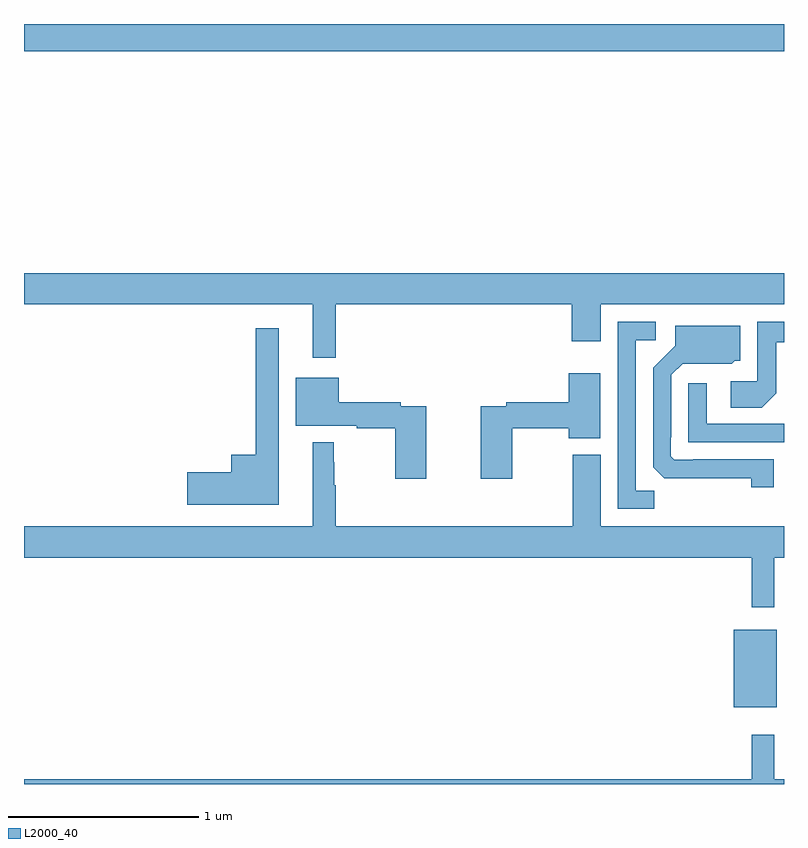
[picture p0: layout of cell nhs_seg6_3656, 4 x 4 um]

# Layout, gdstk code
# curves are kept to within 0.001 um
import gdstk
lib = gdstk.Library(unit=1e-6, precision=1e-09)
def R(c, l, rs):  # rectangles x0, y0, x1, y1
    for r in rs: c.add(gdstk.rectangle(r[:2], r[2:], *l))
def P(c, l, *ps):  # polygons
    for p in ps: c.add(gdstk.Polygon(p, *l))
L2000_40 = (2000, 40)

nhs_seg6_3656 = lib.new_cell('nhs_seg6_3656')
R(nhs_seg6_3656, L2000_40, [(328.736,923.903,328.963,924.313), (325,927.356,329,927.5)])
P(nhs_seg6_3656, L2000_40, [(326.641,926.024),(327.884,926.024),(327.884,925.83),(328.036,925.83),(328.036,926.024),(329,926.024),(329,926.188),(325,926.188),(325,926.024),(326.519,926.024),(326.519,925.743),(326.641,925.743)],
  [(328.959,925.556),(328.959,925.824),(329,925.824),(329,925.932),(328.86,925.932),(328.86,925.62),(328.719,925.62),(328.719,925.48),(328.883,925.48)],
  [(328.317,925.043),(328.221,925.043),(328.221,925.836),(328.324,925.836),(328.324,925.932),(328.125,925.932),(328.125,924.948),(328.317,924.948)],
  [(328.946,925.209),(328.522,925.209),(328.522,925.206),(328.422,925.206),(328.404,925.224),(328.404,925.324),(328.407,925.324),(328.407,925.653),(328.467,925.713),(328.724,925.712),(328.74,925.728),(328.771,925.728),(328.771,925.912),(328.427,925.912),(328.427,925.806),(328.311,925.69),(328.311,925.168),(328.37,925.109),(328.828,925.108),(328.828,925.062),(328.946,925.062)],
  [(326.341,925.9),(326.22,925.9),(326.22,925.234),(326.09,925.234),(326.09,925.142),(325.86,925.142),(325.86,924.971),(326.341,924.971)],
  [(327.57,925.372),(327.866,925.372),(327.866,925.319),(328.033,925.319),(328.033,925.663),(327.866,925.663),(327.866,925.508),(327.538,925.508),(327.538,925.488),(327.404,925.488),(327.404,925.107),(327.57,925.107)],
  [(327.118,925.488),(326.984,925.488),(326.984,925.508),(326.656,925.508),(326.656,925.639),(326.429,925.639),(326.429,925.385),(326.752,925.385),(326.752,925.372),(326.953,925.372),(326.953,925.107),(327.118,925.107)],
  [(329,925.395),(328.593,925.395),(328.593,925.609),(328.497,925.609),(328.497,925.299),(329,925.299)],
  [(328.949,924.692),(329,924.692),(329,924.856),(328.036,924.856),(328.036,925.234),(327.889,925.234),(327.889,924.856),(326.641,924.856),(326.641,925.073),(326.633,925.073),(326.633,925.193),(326.63,925.193),(326.63,925.3),(326.519,925.3),(326.519,924.856),(325,924.856),(325,924.692),(328.831,924.692),(328.831,924.429),(328.949,924.429)],
  [(329,923.524),(328.949,923.524),(328.949,923.758),(328.831,923.758),(328.831,923.524),(325,923.524),(325,923.5),(329,923.5)])

lib.write_gds('nhs_seg6_3656.gds')
